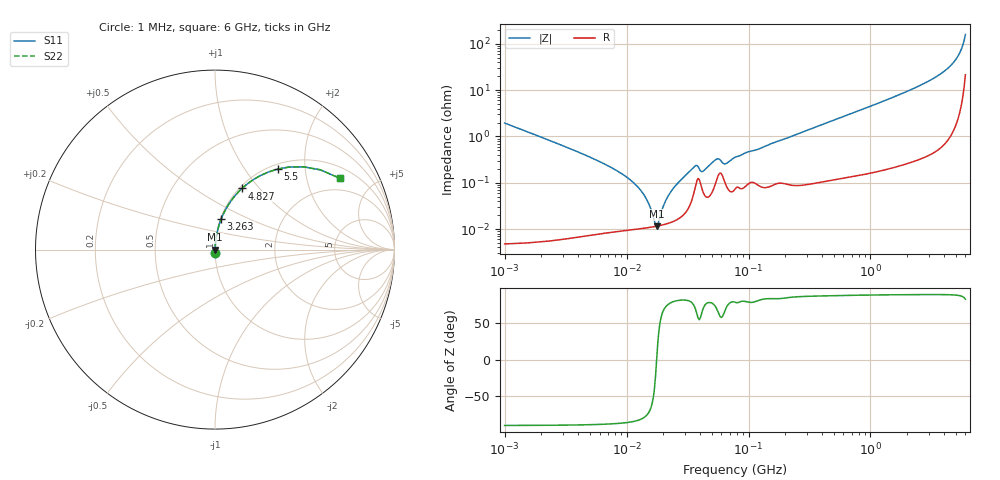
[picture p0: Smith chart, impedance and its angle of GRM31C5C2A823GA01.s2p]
!Murata Part Number: GRM31C5C2A823GA01
!These Parameters are Measured in Series Mode Connection
!Data Generated on Mar 30, 2021
!  o--ll--o
!Port1  Port2
!  o------o
!Operation Temp=25[degC], DC Bias Voltage=0[V]
!Freq. Start=1000[kHz] Stop=6[GHz] 401[Steps]
# Hz S RI R 50
!Freq.(Hz) S11(Real) S11(Imag) S21(Real) S21(Imag) S12(Real) S12(Imag) S22(Real) S22(Imag)
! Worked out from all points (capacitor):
!   401 points, 1 MHz to 6 GHz, reference 50 ohm
!   read as one part in series: C = 81.3 nF near 1.044 MHz
!   lowest |Z| = 11.5 mohm at 17.65 MHz (marker M1)
!   series resonance near 17.65 MHz, so ESL is about 1 nH
!   S11 on the Smith chart (normalised r, x): 1 MHz: 1.00, -0.04; 3.263 GHz: 1.01, +0.36; 4.827 GHz: 1.03, +0.81; 5.5 GHz: 1.08, +1.43; 6 GHz: 1.43, +3.17
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1000000  0.000428 -0.0195  0.9996 0.0195  0.9996 0.0195  0.000428 -0.0195
4293785  8.7e-05 -0.00427  0.9999 0.00427  0.9999 0.00427  8.7e-05 -0.00427
7894251  9.04e-05 -0.00198  0.9999 0.00198  0.9999 0.00198  9.04e-05 -0.00198
1.142569e7  9.84e-05 -0.000995  0.9999 0.000995  0.9999 0.000995  9.84e-05 -0.000995
1.420156e7  0.000105 -0.000488  0.9999 0.000488  0.9999 0.000488  0.000105 -0.000488
1.690048e7  0.000113 -9.71e-05  0.9999 9.71e-05  0.9999 9.71e-05  0.000113 -9.71e-05
1.765184e7  0.000115 6e-07  0.9999 -6e-07  0.9999 -6e-07  0.000115 6e-07
1.843659e7  0.000118 9.89e-05  0.9999 -9.89e-05  0.9999 -9.89e-05  0.000118 9.89e-05
2.055453e7  0.000127 0.000349  0.9999 -0.000349  0.9999 -0.000349  0.000127 0.000349
2.291577e7  0.000139 0.00061  0.9999 -0.00061  0.9999 -0.00061  0.000139 0.00061
3.540316e7  0.000567 0.00206  0.9994 -0.00206  0.9994 -0.00206  0.000567 0.00206
3.779011e7  0.00113 0.00208  0.9989 -0.00208  0.9989 -0.00208  0.00113 0.00208
4.213132e7  0.000662 0.00163  0.9993 -0.00163  0.9993 -0.00163  0.000662 0.00163
5.469524e7  0.00114 0.00303  0.9989 -0.00303  0.9989 -0.00303  0.00114 0.00303
6.508975e7  0.000918 0.00241  0.9991 -0.00241  0.9991 -0.00241  0.000918 0.00241
7.745967e7  0.000737 0.00348  0.9993 -0.00348  0.9993 -0.00348  0.000737 0.00348
3.325952e8  0.00117 0.0149  0.9988 -0.0149  0.9988 -0.0149  0.00117 0.0149
1.428092e9  0.00623 0.0648  0.9938 -0.0648  0.9938 -0.0648  0.00623 0.0648
3.263478e9  0.0346 0.171  0.9654 -0.171  0.9654 -0.171  0.0346 0.171
4.827224e9  0.1503 0.3407  0.8497 -0.3407  0.8497 -0.3407  0.1503 0.3407
5.500089e9  0.3488 0.4485  0.6512 -0.4485  0.6512 -0.4485  0.3488 0.4485
6e9  0.6951 0.3974  0.3049 -0.3974  0.3049 -0.3974  0.6951 0.3974
